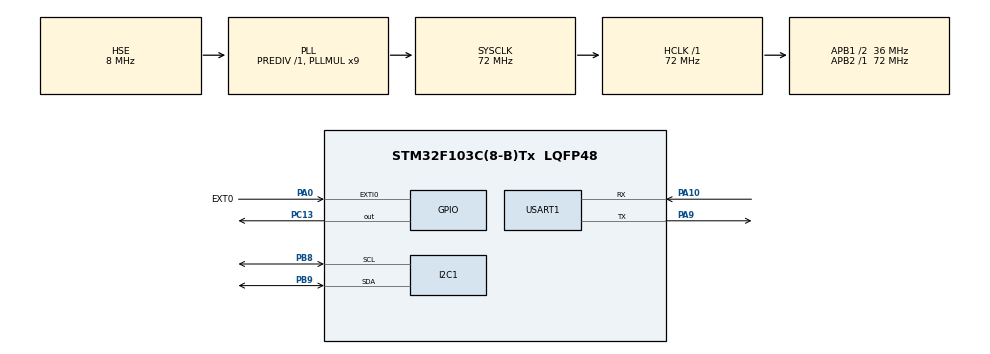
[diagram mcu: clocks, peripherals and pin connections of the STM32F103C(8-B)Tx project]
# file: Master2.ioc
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Dma.Request0=USART1_TX
Dma.USART1_TX.0.Direction=DMA_MEMORY_TO_PERIPH
Dma.USART1_TX.0.Instance=DMA1_Channel4
Dma.USART1_TX.0.MemDataAlignment=DMA_MDATAALIGN_BYTE
Dma.USART1_TX.0.MemInc=DMA_MINC_ENABLE
Dma.USART1_TX.0.Mode=DMA_NORMAL
Dma.USART1_TX.0.PeriphDataAlignment=DMA_PDATAALIGN_BYTE
Dma.USART1_TX.0.PeriphInc=DMA_PINC_DISABLE
Dma.USART1_TX.0.Priority=DMA_PRIORITY_LOW
I2C1.I2C_Mode=I2C_Fast
Mcu.Family=STM32F1
Mcu.Name=STM32F103C(8-B)Tx
Mcu.Package=LQFP48
NVIC.DMA1_Channel4_IRQn=true\:0\:0\:false\:false\:true\:false\:true\:true
NVIC.EXTI0_IRQn=true\:0\:0\:false\:false\:true\:true\:true\:true
NVIC.PriorityGroup=NVIC_PRIORITYGROUP_4
NVIC.USART1_IRQn=true\:0\:0\:false\:false\:true\:true\:true\:true
PA0-WKUP.GPIO_Label=EXT0
PA0-WKUP.GPIO_ModeDefaultEXTI=GPIO_MODE_IT_RISING
PA0-WKUP.Signal=GPXTI0
PA10.Mode=Asynchronous
PA10.Signal=USART1_RX
PA13.Mode=Serial_Wire
PA13.Signal=SYS_JTMS-SWDIO
PA14.Mode=Serial_Wire
PA14.Signal=SYS_JTCK-SWCLK
PA9.Mode=Asynchronous
PA9.Signal=USART1_TX
PB8.Mode=I2C
PB8.Signal=I2C1_SCL
PB9.Mode=I2C
PB9.Signal=I2C1_SDA
PC13-TAMPER-RTC.GPIO_PuPd=GPIO_PULLUP
PC13-TAMPER-RTC.PinState=GPIO_PIN_RESET
PC13-TAMPER-RTC.Signal=GPIO_Output
PD0-OSC_IN.Mode=HSE-External-Oscillator
PD0-OSC_IN.Signal=RCC_OSC_IN
PD1-OSC_OUT.Mode=HSE-External-Oscillator
PD1-OSC_OUT.Signal=RCC_OSC_OUT
ProjectManager.HeapSize=0x200
ProjectManager.StackSize=0x400
ProjectManager.TargetToolchain=MDK-ARM V5.32
RCC.AHBFreq_Value=72000000
RCC.APB1CLKDivider=RCC_HCLK_DIV2
RCC.APB1Freq_Value=36000000
RCC.APB1TimFreq_Value=72000000
RCC.APB2Freq_Value=72000000
RCC.APB2TimFreq_Value=72000000
RCC.HCLKFreq_Value=72000000
RCC.PLLMUL=RCC_PLL_MUL9
RCC.PLLSourceVirtual=RCC_PLLSOURCE_HSE
RCC.SYSCLKFreq_VALUE=72000000
RCC.SYSCLKSource=RCC_SYSCLKSOURCE_PLLCLK
RCC.USBFreq_Value=72000000
USART1.VirtualMode=VM_ASYNC
board=custom

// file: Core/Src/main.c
/* USER CODE BEGIN Header */
/**
  ******************************************************************************
  * @file           : main.c
  * @brief          : Main program body
  ******************************************************************************
  * @attention
  *
  * Copyright (c) 2024 STMicroelectronics.
  * All rights reserved.
  *
  * This software is licensed under terms that can be found in the LICENSE file
  * in the root directory of this software component.
  * If no LICENSE file comes with this software, it is provided AS-IS.
  *
  ******************************************************************************
  */
/* USER CODE END Header */
#include "main.h"
#include "dma.h"
#include "i2c.h"
#include "usart.h"
#include "gpio.h"

/* USER CODE BEGIN Includes */
#include "mpu6050.h"
#include <math.h>
/* USER CODE END Includes */

/* USER CODE BEGIN PTD */
extern DMA_HandleTypeDef hdma_usart1_tx;
/* USER CODE END PTD */

/* USER CODE BEGIN PD */
				uint8_t toTrans[9];
		float Pitch, Roll, Yaw;
		long Temp;
		uint8_t angle[2];
		short duty[2];
		float Yawp=0;
	//	float Yawp=-180;//yaw正修正，往180度推
	//	float Yawd=0;//yaw负修正，往0度以下推
	//	uint8_t adapt=1;//修正状态为负修正
/* USER CODE END PD */

void SystemClock_Config(void);
/* USER CODE BEGIN PFP */

void HAL_GPIO_EXTI_Callback(uint16_t GPIO_Pin)
{
	if(GPIO_Pin == GPIO_PIN_0)
		{

			gyro_data_ready_cb();

//			//按照正负修正修正Yaw,//注意修正不能超过90°
//			if(adapt==1){//0以下
//	Yaw=Yaw-Yawd;
//}else{
//Yaw=Yaw-(Yawp+180);
//}//得执行两次，这样就不会有90度限制了
//			if (Yaw < 0&&Yaw>=-90) {
//				Yawp=-180;
//				adapt=1;//改为负修正
//				if(Yaw<Yawd){
//				Yawd=Yaw;}
//			}else if (Yaw >= -180&&Yaw<-90) {
//    Yawd = 0;
//				adapt=0;
//				if(Yaw>Yawp){
//				Yawp=Yaw;}
//}

//			//按照正负修正修正Yaw,//注意修正不能超过90°
//			if(adapt==1){//0以下
//	Yaw=Yaw-Yawd;
//}else{
//Yaw=Yaw-(Yawp+180);
//}//得执行两次，这样就不会有90度限制了，前一次获得修正角度可供本次再次修正

if(Yaw>=0&&Yaw<=180){
Yawp=Yaw;
}
float roll_plus_90 = Roll + 90;
//if (roll_plus_90 < 0&&roll_plus_90>-90) {
//    roll_plus_90 = 0;
//} else if (roll_plus_90 >= -180&&roll_plus_90<=-90) {
//    roll_plus_90 = 180;
//}
//必须z指向水平面以下的时候初始化

angle[0]=Yawp;
		angle[1]=roll_plus_90;
		duty[0] = (10 *  Yawp/ 180.0 + 2.5) / 100.0 * 2000;
    duty[1] = (10 * roll_plus_90/ 180.0 + 2.5) / 100.0 * 2000;

			uint8_t dutyxoy1=0;//拆分发送
	uint8_t dutyxoy2=0;
		uint8_t dutyz1=0;
		uint8_t dutyz2=0;
		dutyxoy1=(duty[0]>>8)&0xff;
		dutyxoy2=duty[0]&0xff;
		dutyz1=(duty[1]>>8)&0xff;
		dutyz2=duty[1]&0xff;
		toTrans[0]=0xff;
		toTrans[1]=angle[0];
		toTrans[2]=angle[1];
		toTrans[3]=dutyxoy1;
		toTrans[4]=dutyxoy2;
		toTrans[5]=dutyz1;
		toTrans[6]=dutyz2;
		toTrans[7]=0;
		for (int i=0;i<7;i++){
		toTrans[7]+=toTrans[i];
		}//计算完就发�?�本次数�?

		HAL_UART_Transmit_IT(&huart1,(uint8_t*)toTrans,9);
		}
}

/* USER CODE END PFP */

int main(void)
{

  /* MCU Configuration--------------------------------------------------------*/

  /* Reset of all peripherals, Initializes the Flash interface and the Systick. */

  HAL_Init();

  /* Configure the system clock */
  SystemClock_Config();

  /* Initialize all configured peripherals */
  MX_GPIO_Init();
  MX_DMA_Init();
  MX_I2C1_Init();
  MX_USART1_UART_Init();
  /* USER CODE BEGIN 2 */
mpu6050_init();
HAL_Delay(1000);
toTrans[8]=0xFE;
HAL_UART_Transmit_IT(&huart1,(uint8_t*)toTrans,9);

  /* USER CODE END 2 */

  /* Infinite loop */
  while (1)
  {

}
	}

void SystemClock_Config(void)
{
  RCC_OscInitTypeDef RCC_OscInitStruct = {0};
  RCC_ClkInitTypeDef RCC_ClkInitStruct = {0};

  /** Initializes the RCC Oscillators according to the specified parameters
  * in the RCC_OscInitTypeDef structure.
  */
  RCC_OscInitStruct.OscillatorType = RCC_OSCILLATORTYPE_HSE;
  RCC_OscInitStruct.HSEState = RCC_HSE_ON;
  RCC_OscInitStruct.HSEPredivValue = RCC_HSE_PREDIV_DIV1;
  RCC_OscInitStruct.HSIState = RCC_HSI_ON;
  RCC_OscInitStruct.PLL.PLLState = RCC_PLL_ON;
  RCC_OscInitStruct.PLL.PLLSource = RCC_PLLSOURCE_HSE;
  RCC_OscInitStruct.PLL.PLLMUL = RCC_PLL_MUL9;
  if (HAL_RCC_OscConfig(&RCC_OscInitStruct) != HAL_OK)
  {
    Error_Handler();
  }

  /** Initializes the CPU, AHB and APB buses clocks
  */
  RCC_ClkInitStruct.ClockType = RCC_CLOCKTYPE_HCLK|RCC_CLOCKTYPE_SYSCLK
                              |RCC_CLOCKTYPE_PCLK1|RCC_CLOCKTYPE_PCLK2;
  RCC_ClkInitStruct.SYSCLKSource = RCC_SYSCLKSOURCE_PLLCLK;
  RCC_ClkInitStruct.AHBCLKDivider = RCC_SYSCLK_DIV1;
  RCC_ClkInitStruct.APB1CLKDivider = RCC_HCLK_DIV2;
  RCC_ClkInitStruct.APB2CLKDivider = RCC_HCLK_DIV1;

  if (HAL_RCC_ClockConfig(&RCC_ClkInitStruct, FLASH_LATENCY_2) != HAL_OK)
  {
    Error_Handler();
  }
}

void Error_Handler(void)
{
  __disable_irq();
  while (1)
  {
  }
}
